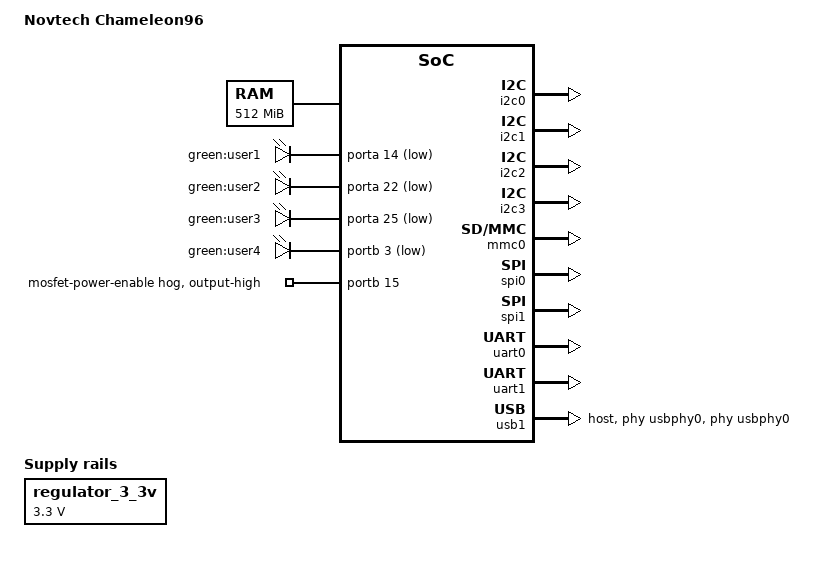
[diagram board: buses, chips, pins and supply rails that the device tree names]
// SPDX-License-Identifier: (GPL-2.0 OR MIT)
/*
 * Device Tree file for the Chameleon96
 *
 * Copyright (c) 2018 Manivannan Sadhasivam <manivannan.sadhasivam@linaro.org>
 */

#include <dt-bindings/gpio/gpio.h>

#include "socfpga_cyclone5.dtsi"
#include "socfpga_cyclone5_chameleon96-u-boot.dtsi"

/ {
	model = "Novtech Chameleon96";
	compatible = "novtech,chameleon96", "altr,socfpga-cyclone5", "altr,socfpga";

	chosen {
		bootargs = "earlyprintk";
		stdout-path = "serial0:115200n8";
	};

	memory {
		name = "memory";
		device_type = "memory";
		reg = <0x0 0x20000000>; /* 512MB */
	};

	regulator_3_3v: regulator {
		compatible = "regulator-fixed";
		regulator-name = "3.3V";
		regulator-min-microvolt = <3300000>;
		regulator-max-microvolt = <3300000>;
	};

	leds {
		compatible = "gpio-leds";

		user_led1 {
			label = "green:user1";
			gpios = <&porta 14 GPIO_ACTIVE_LOW>;
			linux,default-trigger = "heartbeat";
		};

		user_led2 {
			label = "green:user2";
			gpios = <&porta 22 GPIO_ACTIVE_LOW>;
			linux,default-trigger = "mmc0";
		};

		user_led3 {
			label = "green:user3";
			gpios = <&porta 25 GPIO_ACTIVE_LOW>;
			linux,default-trigger = "none";
		};

		user_led4 {
			label = "green:user4";
			gpios = <&portb 3 GPIO_ACTIVE_LOW>;
			panic-indicator;
			linux,default-trigger = "none";
		};
	};

    	/* Define the PHY node outside the soc bus */
	/*
	usb_phy0: usb-phy {
		compatible = "usb-nop-xceiv";
		#phy-cells = <0>;
		reset-gpios = <&portb 0 GPIO_ACTIVE_LOW>; 
		status = "okay";
	};
	*/
};

&gpio0 {
	status = "okay";

};

&porta {
	gpio-line-names = 
		"usb-hub-gpio",
		"",
		"",
		"",
		"",
		"",
		"",
		"",
		"",
		"usb-otg-gpio";
	/*
	usb_otg_phy_reset:usb-phy-reset {
		gpio-hog;
		gpios = <9 GPIO_ACTIVE_LOW>;
		output-high;
		line-name = "usb-otg-phy-reset";
	};
	
	usb_hub_en:usb-hub-enable {
		gpio-hog;
		gpios = <0 GPIO_ACTIVE_HIGH>;
		output-high;
		line-name = "usb-hub-en";
	};
	*/
	
};


&gpio1 {
	status = "okay";
};

&gpio2 {
	status = "okay";
};

&portb {
	mosfet_power_enable:mosfet-power-enable {
		gpio-hog;
		gpios = <15 GPIO_ACTIVE_HIGH>;
		output-high;
		line-name = "mosfet-power-enable";
	};
};

&i2c0 {
	/* On Low speed expansion */
	label = "LS-I2C0";
	status = "okay";
};

&i2c1 {
	/* On Low speed expansion */
	label = "LS-I2C1";
	status = "okay";
};

&i2c2 {
	status = "okay";
};

&i2c3 {
	/* On High speed expansion */
	label = "HS-I2C2";
	status = "okay";
};

&mmc0 {
	status = "okay";
};

&spi0 {
	/* On High speed expansion */
	label = "HS-SPI1";
	status = "okay";
};

&spi1 {
	/* On Low speed expansion */
	label = "LS-SPI0";
	status = "okay";
};

&uart0 {
	/* On Low speed expansion */
	label = "LS-UART1";
	status = "okay";
};

&uart1 {
	/* On Low speed expansion */
	label = "LS-UART0";
	status = "okay";
};

&usb1 {
	status = "okay";
	dr_mode = "host";
	usb-phy = <&usbphy0>;
	phys = <&usbphy0>;
};

